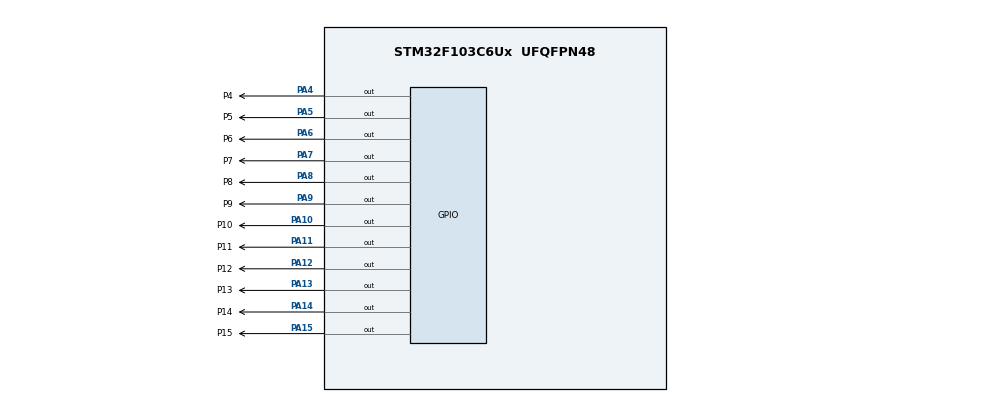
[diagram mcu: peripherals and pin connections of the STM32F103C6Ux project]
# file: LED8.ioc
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Mcu.Family=STM32F1
Mcu.Name=STM32F103C6Ux
Mcu.Package=UFQFPN48
NVIC.PriorityGroup=NVIC_PRIORITYGROUP_4
PA10.GPIO_Label=P10
PA10.Signal=GPIO_Output
PA11.GPIO_Label=P11
PA11.Signal=GPIO_Output
PA12.GPIO_Label=P12
PA12.Signal=GPIO_Output
PA13.GPIO_Label=P13
PA13.Signal=GPIO_Output
PA14.GPIO_Label=P14
PA14.Signal=GPIO_Output
PA15.GPIO_Label=P15
PA15.Signal=GPIO_Output
PA4.GPIO_Label=P4
PA4.Signal=GPIO_Output
PA5.GPIO_Label=P5
PA5.Signal=GPIO_Output
PA6.GPIO_Label=P6
PA6.Signal=GPIO_Output
PA7.GPIO_Label=P7
PA7.Signal=GPIO_Output
PA8.GPIO_Label=P8
PA8.Signal=GPIO_Output
PA9.GPIO_Label=P9
PA9.Signal=GPIO_Output
ProjectManager.HeapSize=0x200
ProjectManager.StackSize=0x400
ProjectManager.TargetToolchain=STM32CubeIDE
RCC.APB1Freq_Value=8000000
RCC.APB2Freq_Value=8000000
VP_SYS_VS_ND.Mode=No_Debug
board=custom

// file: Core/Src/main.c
/* USER CODE BEGIN Header */
/**
  ******************************************************************************
  * @file           : main.c
  * @brief          : Main program body
  ******************************************************************************
  * @attention
  *
  * <h2><center>&copy; Copyright (c) 2022 STMicroelectronics.
  * All rights reserved.</center></h2>
  *
  * This software component is licensed by ST under BSD 3-Clause license,
  * the "License"; You may not use this file except in compliance with the
  * License. You may obtain a copy of the License at:
  *                        opensource.org/licenses/BSD-3-Clause
  *
  ******************************************************************************
  */
/* USER CODE END Header */
#include "main.h"

void SystemClock_Config(void);
static void MX_GPIO_Init(void);

int main(void)
{

  /* MCU Configuration--------------------------------------------------------*/

  /* Reset of all peripherals, Initializes the Flash interface and the Systick. */
  HAL_Init();

  /* Configure the system clock */
  SystemClock_Config();

  /* Initialize all configured peripherals */
  MX_GPIO_Init();
  /* USER CODE BEGIN 2 */
  void clearAllClock ()
    {
  	  HAL_GPIO_WritePin(P4_GPIO_Port, P4_Pin, 1);
  	  HAL_GPIO_WritePin(P5_GPIO_Port, P5_Pin, 1);
  	  HAL_GPIO_WritePin(P6_GPIO_Port, P6_Pin, 1);
  	  HAL_GPIO_WritePin(P7_GPIO_Port, P7_Pin, 1);
  	  HAL_GPIO_WritePin(P8_GPIO_Port, P8_Pin, 1);
  	  HAL_GPIO_WritePin(P9_GPIO_Port, P9_Pin, 1);
  	  HAL_GPIO_WritePin(P10_GPIO_Port, P10_Pin, 1);
  	  HAL_GPIO_WritePin(P11_GPIO_Port, P11_Pin, 1);
  	  HAL_GPIO_WritePin(P12_GPIO_Port, P12_Pin, 1);
  	  HAL_GPIO_WritePin(P13_GPIO_Port, P13_Pin, 1);
  	  HAL_GPIO_WritePin(P14_GPIO_Port, P14_Pin, 1);
  	  HAL_GPIO_WritePin(P15_GPIO_Port, P15_Pin, 1);
    }
  void setNumberOnClock(int nums)
    {
  	  switch(nums)
  		  {
  			  case 1:{HAL_GPIO_WritePin(P4_GPIO_Port, P4_Pin, 0);break;}
  			  case 2:{HAL_GPIO_WritePin(P5_GPIO_Port, P5_Pin, 0);break;}
  			  case 3:{HAL_GPIO_WritePin(P6_GPIO_Port, P6_Pin, 0);break;}
  			  case 4:{HAL_GPIO_WritePin(P7_GPIO_Port, P7_Pin, 0);break;}
  			  case 5:{HAL_GPIO_WritePin(P8_GPIO_Port, P8_Pin, 0);break;}
  			  case 6:{HAL_GPIO_WritePin(P9_GPIO_Port, P9_Pin, 0);break;}
  			  case 7:{HAL_GPIO_WritePin(P10_GPIO_Port, P10_Pin, 0);break;}
  			  case 8:{HAL_GPIO_WritePin(P11_GPIO_Port,P11_Pin, 0);break;}
  			  case 9:{HAL_GPIO_WritePin(P12_GPIO_Port, P12_Pin, 0);break;}
  			  case 10:{HAL_GPIO_WritePin(P13_GPIO_Port, P13_Pin, 0);break; }
  			  case 11:{HAL_GPIO_WritePin(P14_GPIO_Port, P14_Pin, 0);break;}
  			case 0:{HAL_GPIO_WritePin(P15_GPIO_Port, P15_Pin, 0);break;}
  			default: break;
  		  }
    }
   void clearNumberOnClock(int nums)
   {
  	 switch(nums)
  	 		  {
  	 			  case 1:{HAL_GPIO_WritePin(P4_GPIO_Port, P4_Pin, 1);break;}
  	 			  case 2:{HAL_GPIO_WritePin(P5_GPIO_Port, P5_Pin, 1);break;}
  	 			  case 3:{HAL_GPIO_WritePin(P6_GPIO_Port, P6_Pin, 1);break;}
  	 			  case 4:{HAL_GPIO_WritePin(P7_GPIO_Port, P7_Pin, 1);break;}
  	 			  case 5:{HAL_GPIO_WritePin(P8_GPIO_Port, P8_Pin, 1);break;}
  	 			  case 6:{HAL_GPIO_WritePin(P9_GPIO_Port, P9_Pin, 1);break;}
  	 			  case 7:{HAL_GPIO_WritePin(P10_GPIO_Port, P10_Pin, 1);break;}
  	 			  case 8:{HAL_GPIO_WritePin(P11_GPIO_Port,P11_Pin, 1);break;}
  	 			  case 9:{HAL_GPIO_WritePin(P12_GPIO_Port, P12_Pin, 1);break;}
  	 			  case 10:{HAL_GPIO_WritePin(P13_GPIO_Port, P13_Pin, 1);break; }
  	 			  case 11:{HAL_GPIO_WritePin(P14_GPIO_Port, P14_Pin, 1);break;}
  	 			case 0:{HAL_GPIO_WritePin(P15_GPIO_Port, P15_Pin, 1);break;}
  	 			default: break;

  	 		  }
   }
  	 int count=0;
  /* USER CODE END 2 */

  /* Infinite loop */
  /* USER CODE BEGIN WHILE */
  while (1)
  {
	  if(count==0){clearAllClock();}
	  setNumberOnClock(count);
	  HAL_Delay(1000);
	  clearNumberOnClock(count);
	  count++;
    /* USER CODE END WHILE */

}
}

void SystemClock_Config(void)
{
  RCC_OscInitTypeDef RCC_OscInitStruct = {0};
  RCC_ClkInitTypeDef RCC_ClkInitStruct = {0};

  /** Initializes the RCC Oscillators according to the specified parameters
  * in the RCC_OscInitTypeDef structure.
  */
  RCC_OscInitStruct.OscillatorType = RCC_OSCILLATORTYPE_HSI;
  RCC_OscInitStruct.HSIState = RCC_HSI_ON;
  RCC_OscInitStruct.HSICalibrationValue = RCC_HSICALIBRATION_DEFAULT;
  RCC_OscInitStruct.PLL.PLLState = RCC_PLL_NONE;
  if (HAL_RCC_OscConfig(&RCC_OscInitStruct) != HAL_OK)
  {
    Error_Handler();
  }
  /** Initializes the CPU, AHB and APB buses clocks
  */
  RCC_ClkInitStruct.ClockType = RCC_CLOCKTYPE_HCLK|RCC_CLOCKTYPE_SYSCLK
                              |RCC_CLOCKTYPE_PCLK1|RCC_CLOCKTYPE_PCLK2;
  RCC_ClkInitStruct.SYSCLKSource = RCC_SYSCLKSOURCE_HSI;
  RCC_ClkInitStruct.AHBCLKDivider = RCC_SYSCLK_DIV1;
  RCC_ClkInitStruct.APB1CLKDivider = RCC_HCLK_DIV1;
  RCC_ClkInitStruct.APB2CLKDivider = RCC_HCLK_DIV1;

  if (HAL_RCC_ClockConfig(&RCC_ClkInitStruct, FLASH_LATENCY_0) != HAL_OK)
  {
    Error_Handler();
  }
}

static void MX_GPIO_Init(void)
{
  GPIO_InitTypeDef GPIO_InitStruct = {0};

  /* GPIO Ports Clock Enable */
  __HAL_RCC_GPIOA_CLK_ENABLE();

  /*Configure GPIO pin Output Level */
  HAL_GPIO_WritePin(GPIOA, P4_Pin|P5_Pin|P6_Pin|P7_Pin
                          |P8_Pin|P9_Pin|P10_Pin|P11_Pin
                          |P12_Pin|P13_Pin|P14_Pin|P15_Pin, GPIO_PIN_RESET);

  /*Configure GPIO pins : P4_Pin P5_Pin P6_Pin P7_Pin
                           P8_Pin P9_Pin P10_Pin P11_Pin
                           P12_Pin P13_Pin P14_Pin P15_Pin */
  GPIO_InitStruct.Pin = P4_Pin|P5_Pin|P6_Pin|P7_Pin
                          |P8_Pin|P9_Pin|P10_Pin|P11_Pin
                          |P12_Pin|P13_Pin|P14_Pin|P15_Pin;
  GPIO_InitStruct.Mode = GPIO_MODE_OUTPUT_PP;
  GPIO_InitStruct.Pull = GPIO_NOPULL;
  GPIO_InitStruct.Speed = GPIO_SPEED_FREQ_LOW;
  HAL_GPIO_Init(GPIOA, &GPIO_InitStruct);

}

void Error_Handler(void)
{
  __disable_irq();
  while (1)
  {
  }
}

/************************ (C) COPYRIGHT STMicroelectronics *****END OF FILE****/
